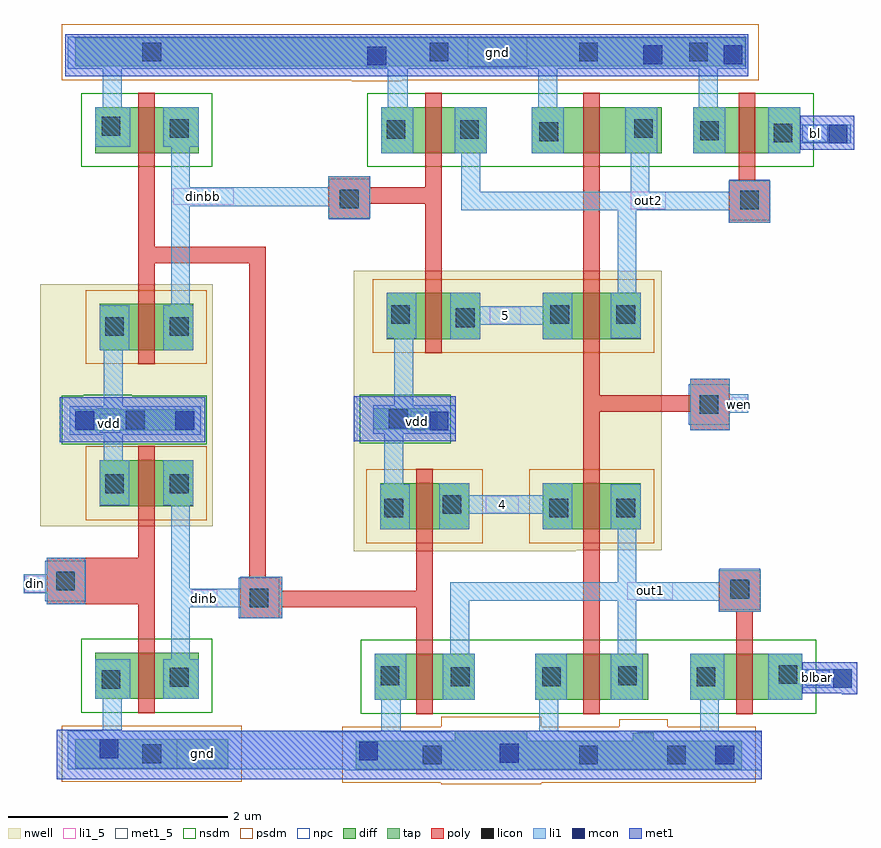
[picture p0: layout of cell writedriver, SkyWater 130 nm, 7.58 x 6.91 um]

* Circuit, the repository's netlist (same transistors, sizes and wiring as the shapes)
* SPICE3 file created from write_driver.ext - technology: sky130A
.SUBCKT write_driver din bl br en vdd gnd
X0 dinb din vdd vdd sky130_fd_pr__pfet_01v8 ad=0.147 pd=1.54 as=0.147 ps=1.54 w=0.42 l=0.15
X1 dinbb dinb vdd vdd sky130_fd_pr__pfet_01v8 ad=0.147 pd=1.54 as=0.147 ps=1.54 w=0.42 l=0.15
X2 out2 dinbb gnd gnd sky130_fd_pr__nfet_01v8 ad=0.1722 pd=1.66 as=0.168 ps=1.64 w=0.42 l=0.15
X3 dinbb dinb gnd gnd sky130_fd_pr__nfet_01v8 ad=0.168 pd=1.64 as=0.1638 ps=1.62 w=0.42 l=0.15
X4 out1 wen 4 vdd sky130_fd_pr__pfet_01v8 ad=0.1554 pd=1.58 as=0.1554 ps=1.58 w=0.42 l=0.15
X5 4 dinb vdd vdd sky130_fd_pr__pfet_01v8 ad=0.1386 pd=1.5 as=0.1386 ps=1.5 w=0.42 l=0.15
X6 dinb din gnd gnd sky130_fd_pr__nfet_01v8 ad=0.168 pd=1.64 as=0.1638 ps=1.62 w=0.42 l=0.15
X7 bl out2 gnd gnd sky130_fd_pr__nfet_01v8 ad=0.1722 pd=1.66 as=0.1722 ps=1.66 w=0.42 l=0.15
X8 blb out1 gnd gnd sky130_fd_pr__nfet_01v8 ad=0.189 pd=1.74 as=0.1764 ps=1.68 w=0.42 l=0.15
X9 out1 dinb gnd gnd sky130_fd_pr__nfet_01v8 ad=0.1596 pd=1.6 as=0.1596 ps=1.6 w=0.42 l=0.15
X10 5 dinbb vdd vdd sky130_fd_pr__pfet_01v8 ad=0.147 pd=1.54 as=0.147 ps=1.54 w=0.42 l=0.15
X11 out2 wen 5 vdd sky130_fd_pr__pfet_01v8 ad=0.1554 pd=1.58 as=0.1554 ps=1.58 w=0.42 l=0.15
X12 out1 wen gnd gnd sky130_fd_pr__nfet_01v8 ad=0.1848 pd=1.72 as=0.1848 ps=1.72 w=0.42 l=0.15
X13 out2 wen gnd gnd sky130_fd_pr__nfet_01v8 ad=0.2352 pd=1.96 as=0.1974 ps=1.78 w=0.42 l=0.15
.ENDS

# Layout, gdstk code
import gdstk
lib = gdstk.Library(unit=1e-6, precision=1e-09)
def R(c, l, rs):  # rectangles x0, y0, x1, y1
    for r in rs: c.add(gdstk.rectangle(r[:2], r[2:], *l))
nwell = (64, 20)
diff = (65, 20)
tap = (65, 44)
poly = (66, 20)
licon = (66, 44)
li1_5 = (67, 5)
li1 = (67, 20)
mcon = (67, 44)
met1_5 = (68, 5)
met1 = (68, 20)
nsdm = (93, 44)
psdm = (94, 20)
npc = (95, 20)

writedriver = lib.new_cell('writedriver')
R(writedriver, nwell, [(2.55,1.75,4.57,1.76), (2.55,1.76,5.35,4.3), (-0.3,1.98,1.27,4.18)])
R(writedriver, diff, [(2.74,0.4,3.65,0.82), (4.2,0.4,5.23,0.82), (5.61,0.4,6.63,0.82), (0.2,0.41,1.14,0.83), (2.79,1.95,3.6,2.37), (4.27,1.95,5.16,2.37), (0.24,2.16,1.09,2.58), (0.24,3.58,1.09,4), (2.85,3.68,3.7,4.1), (4.27,3.68,5.16,4.1), (0.2,5.37,1.14,5.79), (2.8,5.37,3.76,5.79), (4.17,5.37,5.35,5.79), (5.64,5.37,6.61,5.79)])
R(writedriver, tap, [(3.47,-0.24,4.13,-0.23), (2.57,-0.23,6.08,0.03), (0.02,-0.22,1.41,0.04), (3.47,0.03,4.13,0.12), (5.09,0.03,5.28,0.1), (0.02,2.85,1.09,3.04), (2.73,2.86,3.31,3.05), (0.22,3.04,0.41,3.05), (2.66,6.15,2.86,6.16), (0.02,6.16,6.11,6.42)])
R(writedriver, poly, [(3.12,0.27,3.27,1.24), (4.64,0.27,4.79,3.02), (6.03,0.27,6.18,1.2), (0.59,0.28,0.74,1.27), (1.52,1.14,1.9,1.24), (5.87,1.2,6.25,1.58), (1.52,1.24,3.27,1.39), (-0.24,1.27,0.74,1.69), (1.52,1.39,1.9,1.52), (3.12,1.39,3.27,2.5), (1.6,1.52,1.75,4.37), (0.59,1.69,0.74,2.71), (5.61,2.85,5.97,3.02), (4.64,3.02,5.97,3.17), (4.64,3.17,4.79,5.92), (5.61,3.17,5.97,3.32), (0.59,3.45,0.74,4.37), (3.2,3.55,3.35,4.91), (0.59,4.37,1.75,4.52), (0.59,4.52,0.74,5.92), (5.96,4.74,6.34,5.12), (2.32,4.78,2.7,4.91), (2.32,4.91,3.35,5.06), (2.32,5.06,2.7,5.16), (3.2,5.06,3.35,5.92), (6.05,5.12,6.2,5.92)])
R(writedriver, licon, [(3.18,-0.185,3.35,-0.015), (4.6,-0.185,4.77,-0.015), (5.4,-0.185,5.57,-0.015), (0.63,-0.175,0.8,-0.005), (0.26,0.5,0.43,0.67), (0.88,0.52,1.05,0.69), (3.435,0.525,3.605,0.695), (4.265,0.525,4.435,0.695), (5.67,0.525,5.84,0.695), (2.795,0.535,2.965,0.705), (4.955,0.535,5.125,0.705), (6.415,0.545,6.585,0.715), (1.605,1.24,1.775,1.41), (5.975,1.32,6.145,1.49), (-0.155,1.395,0.015,1.565), (2.83,2.06,3,2.23), (4.33,2.06,4.5,2.23), (4.94,2.06,5.11,2.23), (3.36,2.09,3.53,2.26), (0.29,2.28,0.46,2.45), (0.88,2.28,1.05,2.45), (0.48,2.86,0.65,3.03), (2.87,2.87,3.04,3.04), (5.695,3,5.865,3.17), (0.29,3.71,0.46,3.88), (0.88,3.71,1.05,3.88), (3.48,3.79,3.65,3.96), (2.89,3.82,3.06,3.99), (4.34,3.82,4.51,3.99), (4.94,3.82,5.11,3.99), (6.065,4.86,6.235,5.03), (2.425,4.87,2.595,5.04), (6.37,5.47,6.54,5.64), (4.24,5.48,4.41,5.65), (5.7,5.49,5.87,5.66), (2.85,5.5,3.02,5.67), (3.52,5.5,3.69,5.67), (0.88,5.51,1.05,5.68), (5.1,5.51,5.27,5.68), (0.26,5.53,0.43,5.7), (0.63,6.205,0.8,6.375), (3.24,6.205,3.41,6.375), (4.6,6.205,4.77,6.375), (5.6,6.205,5.77,6.375)])
R(writedriver, li1_5, [(1.08,1.24,1.31,1.4), (5.04,1.31,5.45,1.47), (-0.44,1.38,-0.25,1.53), (3.75,2.1,4.05,2.25), (5.99,3.03,6.12,3.15), (3.79,3.82,4.07,3.97), (5.07,4.86,5.39,5.02), (0.91,4.9,1.46,5.05)])
R(writedriver, li1, [(2.48,-0.24,6.26,-0.23), (-0.05,-0.23,6.26,0.11), (-0.05,0.11,2.24,0.12), (2.8,0.11,2.98,0.4), (3.43,0.11,4.5,0.12), (4.96,0.11,5.13,0.12), (5.7,0.11,5.87,0.4), (0.27,0.12,0.44,0.41), (4.24,0.12,4.41,0.4), (2.74,0.4,3.03,0.82), (3.36,0.4,3.65,0.82), (4.2,0.4,4.49,0.82), (4.89,0.4,5.18,0.82), (5.61,0.4,5.92,0.82), (6.32,0.4,6.63,0.51), (0.2,0.41,0.52,0.77), (0.82,0.41,1.14,0.77), (6.32,0.51,7.08,0.68), (6.32,0.68,6.63,0.82), (0.89,0.77,1.06,1.24), (3.43,0.82,3.6,1.3), (4.95,0.82,5.12,1.3), (1.52,1.14,1.9,1.24), (5.87,1.2,6.25,1.3), (0.89,1.24,1.9,1.41), (-0.24,1.27,0.11,1.37), (3.43,1.3,6.25,1.47), (-0.45,1.37,0.11,1.54), (0.89,1.41,1.06,2.17), (1.52,1.41,1.9,1.52), (4.95,1.47,5.12,1.95), (5.87,1.47,6.25,1.58), (-0.24,1.54,0.11,1.69), (2.79,1.95,3.06,2.36), (3.33,1.95,3.6,2.09), (4.27,1.95,4.54,2.09), (4.89,1.95,5.16,2.36), (3.33,2.09,4.54,2.26), (0.24,2.17,0.51,2.58), (0.82,2.17,1.09,2.58), (3.33,2.26,3.6,2.37), (4.27,2.26,4.54,2.37), (2.83,2.36,3,2.82), (0.28,2.58,0.45,2.81), (-0.03,2.81,1.16,3.07), (2.73,2.82,3.48,3.08), (5.61,2.85,5.97,3.01), (5.61,3.01,6.14,3.18), (0.28,3.07,0.45,3.58), (2.92,3.08,3.09,3.69), (5.61,3.18,5.97,3.32), (0.24,3.58,0.51,3.99), (0.82,3.58,1.09,3.99), (3.43,3.68,3.7,3.81), (4.27,3.68,4.54,3.81), (2.85,3.69,3.12,4.1), (4.89,3.69,5.16,4.1), (3.43,3.81,4.54,3.98), (3.43,3.98,3.7,4.1), (4.27,3.98,4.54,4.1), (0.89,3.99,1.06,4.89), (4.95,4.1,5.12,4.85), (5.96,4.74,6.34,4.85), (2.32,4.78,2.7,4.89), (3.53,4.85,6.34,5.02), (0.89,4.89,2.7,5.06), (3.53,5.02,3.7,5.37), (5.07,5.02,5.24,5.37), (5.96,5.02,6.34,5.12), (0.89,5.06,1.06,5.43), (2.32,5.06,2.7,5.16), (2.8,5.37,3.09,5.79), (3.47,5.37,3.76,5.79), (4.17,5.37,4.46,5.79), (5.02,5.37,5.31,5.79), (5.64,5.37,5.93,5.79), (6.32,5.37,6.61,5.46), (0.2,5.43,0.52,5.79), (0.82,5.43,1.14,5.79), (6.32,5.46,7.07,5.63), (6.32,5.63,6.61,5.79), (0.27,5.79,0.44,6.14), (2.86,5.79,3.04,6.14), (4.23,5.79,4.4,6.14), (5.69,5.79,5.86,6.14), (-0.05,6.14,6.12,6.43)])
R(writedriver, mcon, [(5.84,-0.185,6.01,-0.015), (3.88,-0.17,4.05,0), (2.6,-0.15,2.77,0.02), (0.24,-0.13,0.41,0.04), (6.91,0.51,7.08,0.68), (3.24,2.85,3.41,3.02), (0.02,2.855,0.19,3.025), (0.93,2.855,1.1,3.025), (6.87,5.46,7.04,5.63), (2.675,6.17,2.845,6.34), (5.185,6.18,5.355,6.35), (5.915,6.18,6.085,6.35)])
R(writedriver, met1_5, [(0.94,-0.22,1.41,0.04), (6.66,0.53,6.88,0.67), (0.24,2.83,0.43,3), (3.07,2.85,3.2,3.02), (6.63,5.47,6.86,5.63), (3.59,6.15,4.13,6.42)])
R(writedriver, met1, [(-0.15,-0.32,6.26,0.12), (-0.15,0.12,0.44,0.13), (6.99,0.45,7.13,0.46), (6.63,0.46,7.13,0.74), (-0.12,2.74,1.2,3.15), (2.55,2.75,3.48,3.16), (6.61,5.4,7.1,5.71), (-0.07,6.07,6.14,6.45)])
R(writedriver, nsdm, [(2.615,0.275,6.755,0.945), (0.075,0.285,1.265,0.955), (-0.105,2.725,1.215,3.165), (2.605,2.735,3.435,3.175), (0.095,3.165,0.535,3.175), (0.075,5.245,1.265,5.915), (2.675,5.245,6.735,5.915)])
R(writedriver, psdm, [(3.345,-0.365,4.255,-0.355), (2.445,-0.355,6.205,0.155), (-0.105,-0.345,1.535,0.165), (3.345,0.155,4.255,0.245), (4.965,0.155,5.405,0.225), (2.665,1.825,3.725,2.495), (4.145,1.825,5.285,2.495), (0.115,2.035,1.215,2.705), (0.115,3.455,1.215,4.125), (2.725,3.555,5.285,4.225), (2.535,6.025,2.985,6.035), (-0.105,6.035,6.235,6.545)])
R(writedriver, npc, [(1.505,1.14,1.875,1.51), (5.875,1.22,6.245,1.59), (-0.255,1.295,0.115,1.665), (5.595,2.9,5.965,3.27), (5.965,4.76,6.335,5.13), (2.325,4.77,2.695,5.14)])
writedriver.add(gdstk.Label('dinb', (1.195,1.32), layer=67, texttype=5))
writedriver.add(gdstk.Label('vdd', (0.335,2.915), layer=68, texttype=5))
writedriver.add(gdstk.Label('vdd', (3.135,2.935), layer=68, texttype=5))
writedriver.add(gdstk.Label('gnd', (3.86,6.285), layer=68, texttype=5))
writedriver.add(gdstk.Label('gnd', (1.175,-0.09), layer=68, texttype=5))
writedriver.add(gdstk.Label('dinbb', (1.185,4.975), layer=67, texttype=5))
writedriver.add(gdstk.Label('din', (-0.345,1.455), layer=67, texttype=5))
writedriver.add(gdstk.Label('out1', (5.245,1.39), layer=67, texttype=5))
writedriver.add(gdstk.Label('out2', (5.23,4.94), layer=67, texttype=5))
writedriver.add(gdstk.Label('bl', (6.745,5.55), layer=68, texttype=5))
writedriver.add(gdstk.Label('blbar', (6.77,0.6), layer=68, texttype=5))
writedriver.add(gdstk.Label('4', (3.9,2.175), layer=67, texttype=5))
writedriver.add(gdstk.Label('5', (3.93,3.895), layer=67, texttype=5))
writedriver.add(gdstk.Label('wen', (6.055,3.09), layer=67, texttype=5))

lib.write_gds('writedriver.gds')
